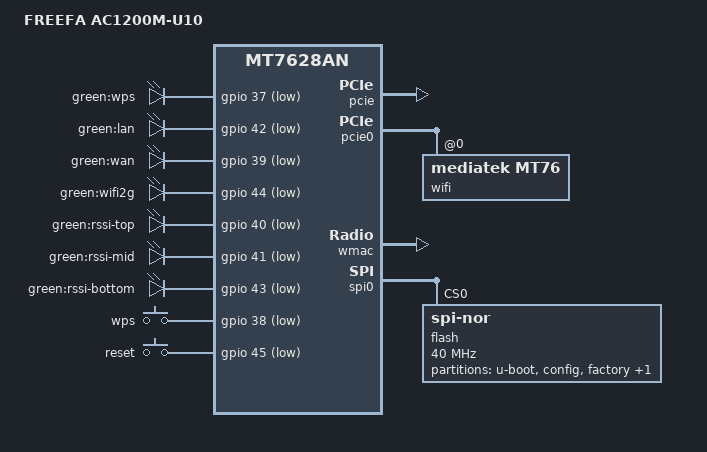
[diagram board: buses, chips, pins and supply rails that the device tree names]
// SPDX-License-Identifier: GPL-2.0-or-later OR MIT
// EXPERIMENTAL BOARD PORT: FREEFA AC1200M-U10 / U6_1200M
// Based on OpenWrt Totolink LR1200 DTS; NOT COMPILED OR TESTED.
#include "mt7628an.dtsi"
#include <dt-bindings/gpio/gpio.h>
#include <dt-bindings/input/input.h>

/ {
    compatible = "freefa,ac1200m-u10", "mediatek,mt7628an-soc";
    model = "FREEFA AC1200M-U10";

    aliases {
        led-boot = &led_wps;
        led-failsafe = &led_wps;
        led-running = &led_wps;
        led-upgrade = &led_wps;
    };

    leds {
        compatible = "gpio-leds";
        led_wps: wps {
            label = "green:wps";
            gpios = <&gpio 37 GPIO_ACTIVE_LOW>; // Polarity to verify
        };
        lan {
            label = "green:lan";
            gpios = <&gpio 42 GPIO_ACTIVE_LOW>;
        };
        wan {
            label = "green:wan";
            gpios = <&gpio 39 GPIO_ACTIVE_LOW>;
        };
        wifi2g {
            label = "green:wifi2g";
            gpios = <&gpio 44 GPIO_ACTIVE_LOW>;
            linux,default-trigger = "phy0tpt";
        };
        rssi_top {
            label = "green:rssi-top";
            gpios = <&gpio 40 GPIO_ACTIVE_LOW>; // Polarity to verify
        };
        rssi_mid {
            label = "green:rssi-mid";
            gpios = <&gpio 41 GPIO_ACTIVE_LOW>; // Polarity to verify
        };
        rssi_bottom {
            label = "green:rssi-bottom";
            gpios = <&gpio 43 GPIO_ACTIVE_LOW>; // Polarity to verify
        };
    };

    keys {
        compatible = "gpio-keys";
        wps {
            label = "wps";
            gpios = <&gpio 38 GPIO_ACTIVE_LOW>;
            linux,code = <KEY_WPS_BUTTON>;
        };
        reset {
            label = "reset";
            gpios = <&gpio 45 GPIO_ACTIVE_LOW>;
            linux,code = <KEY_RESTART>;
        };
    };
};

// Pinmux is provisional; verify GPIO37-45 and UART console coexist.
&state_default {
    gpio {
        groups = "gpio", "i2c", "i2s", "refclk", "uart1", "wdt", "wled_an", "p0led_an", "p2led_an", "p3led_an";
        function = "gpio";
    };
};

&pcie { status = "okay"; };
&pcie0 {
    wifi@0,0 {
        compatible = "mediatek,mt76";
        reg = <0x0000 0 0 0 0>;
        nvmem-cells = <&eeprom_factory_8000>;
        nvmem-cell-names = "eeprom";
        ieee80211-freq-limit = <5000000 6000000>;
        led {
            led-sources = <2>;
            led-active-low;
        };
    };
};
&wmac {
    status = "okay";
    nvmem-cells = <&eeprom_factory_0>;
    nvmem-cell-names = "eeprom";
};
&ethernet {
    nvmem-cells = <&macaddr_factory_4>;
    nvmem-cell-names = "mac-address";
};
&spi0 {
    status = "okay";
    flash@0 {
        compatible = "jedec,spi-nor";
        reg = <0>;
        spi-max-frequency = <40000000>; // Provisional; verify flash timing
        #address-cells = <1>;
        #size-cells = <1>;
        partitions {
            compatible = "fixed-partitions";
            #address-cells = <1>;
            #size-cells = <1>;
            partition@0 {
                label = "u-boot";
                reg = <0x0 0x30000>;
                read-only;
            };
            partition@30000 {
                label = "config";
                reg = <0x30000 0x10000>;
                read-only;
            };
            factory: partition@40000 {
                label = "factory";
                reg = <0x40000 0x10000>;
                read-only;
                nvmem-layout {
                    compatible = "fixed-layout";
                    #address-cells = <1>;
                    #size-cells = <1>;
                    eeprom_factory_0: eeprom@0 { reg = <0x0 0x400>; };
                    eeprom_factory_8000: eeprom@8000 { reg = <0x8000 0x200>; };
                    macaddr_factory_4: macaddr@4 { reg = <0x4 0x6>; };
                };
            };
            partition@50000 {
                compatible = "denx,uimage";
                label = "firmware";
                reg = <0x50000 0x7b0000>;
            };
        };
    };
};
